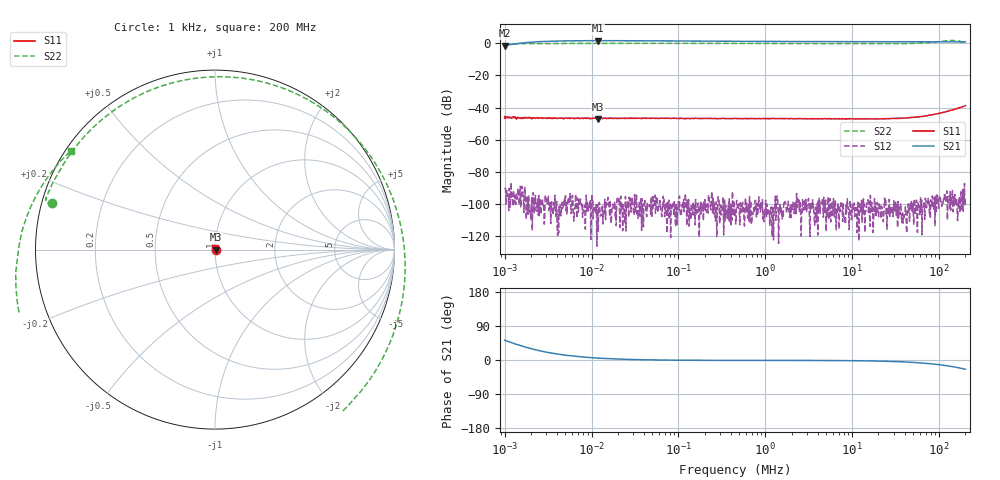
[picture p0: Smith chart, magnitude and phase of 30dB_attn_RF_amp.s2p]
! ListType=Log
# MHZ S RI R 50
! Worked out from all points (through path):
!   1000 points, 1 kHz to 200 MHz, reference 50 ohm
!   highest |S21| = 1.58 dB at 11.95 kHz (marker M1); lowest = -1.5 dB at 1 kHz (marker M2)
!   group delay of S21, straight-line fit = 488 ps
!   lowest |S11| = -47.3 dB at 11.95 kHz (marker M3), VSWR 1.01, Z = 50.4 + j0.0357 ohm
!   |S11| at or under -10 dB: start of sweep to end of sweep
!   |S22| runs from -0.5 to 1.7 dB; largest |S21 - S12| = 1.2
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0.001  0.00462 -0.000451  0.5168 0.6656  -1.15e-05 -2.99e-05  -0.9089 0.26
0.0025309  0.00471 -0.000407  1.01 0.4585  -8.7e-06 -1.12e-05  -0.9309 0.2607
0.0076941  0.00464 -3.52e-05  1.173 0.1675  -2.1e-06 8.4e-06  -0.9422 0.2759
0.011945  0.00429 0.000354  1.196 0.0829  -1.2e-06 6e-07  -0.9435 0.2782
0.0584804  0.00462 -4.86e-05  1.174 -0.000246  1.1e-06 -7.5e-06  -0.9406 0.2882
0.4499541  0.00461 2.73e-05  1.139 -0.0203  1.8e-06 7.1e-06  -0.9349 0.303
3.419952  0.00452 0.000152  1.116 -0.0226  -1.8e-06 -7.2e-06  -0.8867 0.4028
12.03851  0.00439 0.000568  1.105 -0.0386  -7.5e-06 -3e-07  -0.7122 0.6466
18.46267  0.00432 0.000882  1.102 -0.0519  1.7e-06 -4.3e-06  -0.5466 0.7874
26.31347  0.00436 0.00134  1.099 -0.0688  3.6e-06 -3.5e-06  -0.3118 0.9064
38.43037  0.00418 0.00205  1.096 -0.0956  1.2e-06 -2.3e-06  0.0882 0.9611
50.9003  0.00415 0.00281  1.092 -0.1238  -1e-07 -2.3e-06  0.4925 0.8486
64.99008  0.00398 0.0036  1.088 -0.1557  6e-06 -3.9e-06  0.8567 0.5339
81.97236  0.00374 0.00459  1.081 -0.1944  5.3e-06 -7.1e-06  1.057 -0.0223
92.62555  0.00347 0.00528  1.076 -0.2186  -3.4e-06 -4.1e-06  1.016 -0.4025
103.3922  0.00329 0.00592  1.07 -0.2429  -9.6e-06 -1.12e-05  0.8402 -0.7545
116.8291  0.003 0.00673  1.062 -0.2732  1.25e-05 -4.9e-06  0.4616 -1.075
128.8255  0.00262 0.00737  1.054 -0.2999  -1.25e-05 -1.01e-05  0.0311 -1.195
145.5678  0.00206 0.0084  1.043 -0.3362  5.8e-06 -1.22e-05  -0.5687 -1.06
164.4859  0.00135 0.00953  1.027 -0.3776  4.6e-06 -3.3e-06  -1.028 -0.5582
179.1732  0.000495 0.0103  1.014 -0.4077  -1.87e-05 -8.8e-06  -1.102 -0.0581
200  -0.000337 0.0114  0.9932 -0.4523  -1.29e-05 -6.6e-06  -0.8026 0.5506
